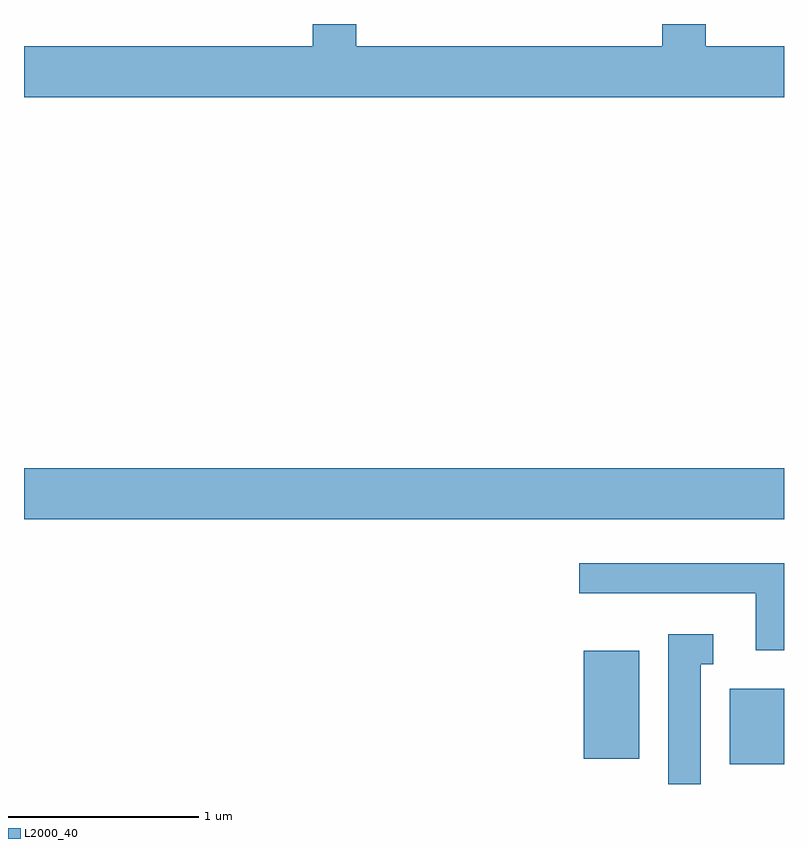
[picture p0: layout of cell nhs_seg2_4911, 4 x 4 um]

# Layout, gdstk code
import gdstk
lib = gdstk.Library(unit=1e-6, precision=1e-09)
def R(c, l, rs):  # rectangles x0, y0, x1, y1
    for r in rs: c.add(gdstk.rectangle(r[:2], r[2:], *l))
def P(c, l, *ps):  # polygons
    for p in ps: c.add(gdstk.Polygon(p, *l))
L2000_40 = (2000, 40)

nhs_seg2_4911 = lib.new_cell('nhs_seg2_4911')
R(nhs_seg2_4911, L2000_40, [(333.326,1055.906,333.611,1056.304), (332.556,1055.936,332.849,1056.504), (329.611,1057.196,333.611,1057.464)])
P(nhs_seg2_4911, L2000_40, [(333.611,1059.684),(333.199,1059.684),(333.199,1059.802),(332.971,1059.802),(332.971,1059.684),(331.359,1059.684),(331.359,1059.802),(331.131,1059.802),(331.131,1059.684),(329.611,1059.684),(329.611,1059.416),(333.611,1059.416)],
  [(333.611,1056.964),(332.533,1056.964),(332.533,1056.806),(333.461,1056.806),(333.461,1056.506),(333.611,1056.506)],
  [(333.174,1056.431),(333.238,1056.431),(333.238,1056.589),(333.001,1056.589),(333.001,1055.802),(333.174,1055.802)])

lib.write_gds('nhs_seg2_4911.gds')
